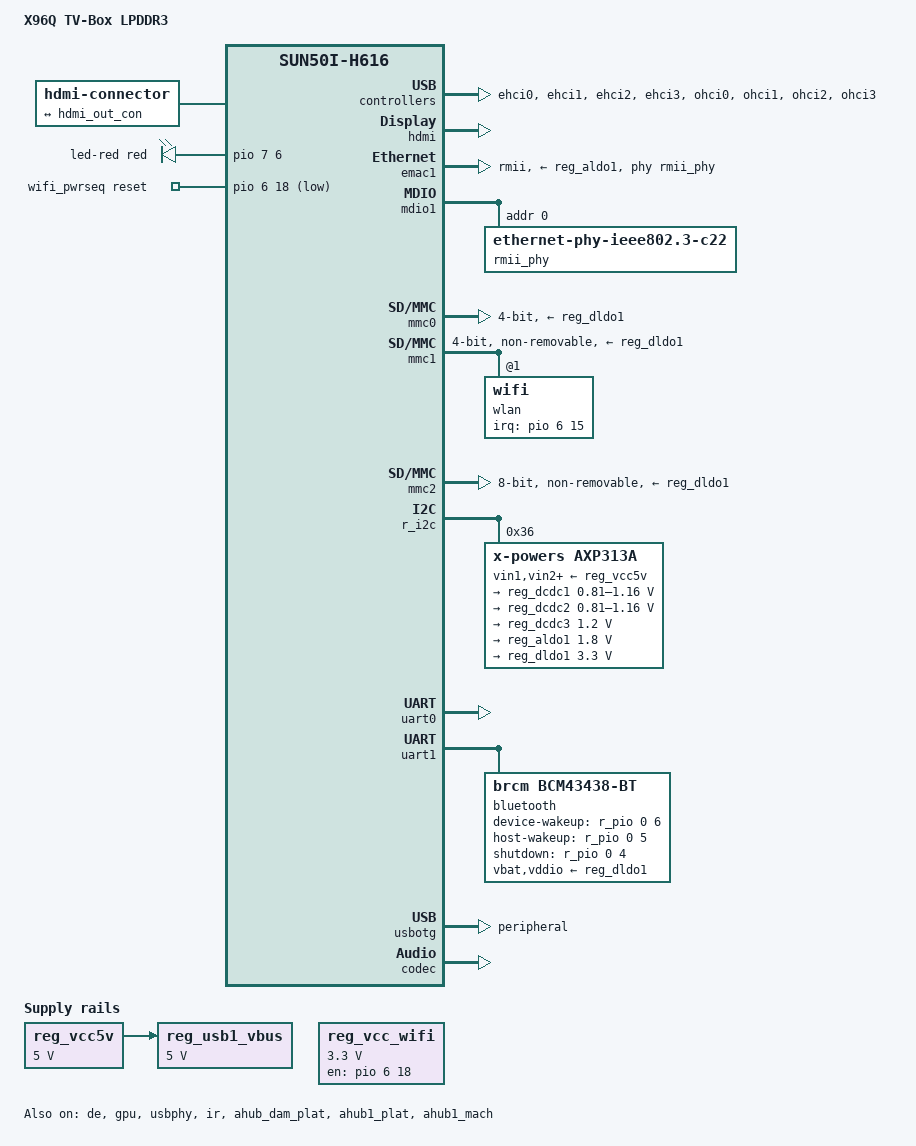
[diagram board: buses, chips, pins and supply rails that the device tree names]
// SPDX-License-Identifier: (GPL-2.0+ or MIT)
/*
 * Author: piotr.oniszczuk@gmail.com
 */

/dts-v1/;

#include "sun50i-h616.dtsi"
#include "sun50i-h313-cpu-opp.dtsi"
#include <dt-bindings/gpio/gpio.h>
#include <dt-bindings/interrupt-controller/arm-gic.h>
#include <dt-bindings/leds/common.h>

/ {
	model = "X96Q TV-Box LPDDR3";
	compatible = "hechuang,x96-q", "allwinner,sun50i-h616";

	aliases {
		mmc0 = &mmc0;
		mmc2 = &mmc2;
		ethernet0 = &emac1;
		ethernet1 = &wlan;
		serial0 = &uart0;
	};

	chosen {
		stdout-path = "serial0:115200n8";
	};

	connector {
		compatible = "hdmi-connector";
		type = "d";

		port {
			hdmi_con_in: endpoint {
				remote-endpoint = <&hdmi_out_con>;
			};
		};
	};

	leds {
		compatible = "gpio-leds";

		led-red {
			function = LED_FUNCTION_DISK_ACTIVITY;
			color = <LED_COLOR_ID_RED>;
			gpios = <&pio 7 6 GPIO_ACTIVE_HIGH>; /* PH6 */
			linux,default-trigger = "mmc0";
		};
	};

	reg_vcc5v: vcc5v {
		/* board wide 5V supply directly from the USB-C socket */
		compatible = "regulator-fixed";
		regulator-name = "vcc-5v";
		regulator-min-microvolt = <5000000>;
		regulator-max-microvolt = <5000000>;
		regulator-always-on;
	};

	reg_usb1_vbus: usb1-vbus {
		compatible = "regulator-fixed";
		regulator-name = "usb1-vbus";
		regulator-min-microvolt = <5000000>;
		regulator-max-microvolt = <5000000>;
		vin-supply = <&reg_vcc5v>;
		enable-active-high;
		/* gpio = <&pio 2 16 GPIO_ACTIVE_HIGH>; PC16 */
		status = "okay";
	};

	reg_vcc_wifi: reg_vcc_wifi {
		compatible = "regulator-fixed";
		regulator-name = "vcc-wifi";
		regulator-min-microvolt = <3300000>;
		regulator-max-microvolt = <3300000>;
		gpio = <&pio 6 18 GPIO_ACTIVE_HIGH>; /* PG18 WL_REG_ON */
		regulator-always-on;
		enable-active-high;
		status = "okay";
	};

	wifi_pwrseq: wifi-pwrseq {
		compatible = "mmc-pwrseq-simple";
		clocks = <&rtc 1>;
		clock-names = "osc32k-out";
		reset-gpios = <&pio 6 18 GPIO_ACTIVE_LOW>; /* PG18 */
		post-power-on-delay-ms = <200>;
	};
};

&cpu0 {
	cpu-supply = <&reg_dcdc2>;
	status = "okay";
};

&de {
	status = "okay";
};

&ehci0 {
	status = "okay";
};

&ehci1 {
	status = "okay";
};

&ehci2 {
	status = "okay";
};

&ehci3 {
	status = "okay";
};

&hdmi {
	hvcc-supply = <&reg_aldo1>;
	status = "okay";
};

&hdmi_out {
	hdmi_out_con: endpoint {
		remote-endpoint = <&hdmi_con_in>;
	};
};

&gpu {
	mali-supply = <&reg_dcdc1>;
	status = "okay";
};

&emac1 {
	pinctrl-names = "default";
	pinctrl-0 = <&rmii_pins>;
	phy-mode = "rmii";
	phy-handle = <&rmii_phy>;
	phy-supply = <&reg_aldo1>;
	allwinner,rx-delay-ps = <3100>;
	allwinner,tx-delay-ps = <700>;
	status = "okay";
};

&mdio1 {
	rmii_phy: ethernet-phy@0 {
		compatible = "ethernet-phy-ieee802.3-c22";
		reg = <0>;
	};
};

&mmc0 {
	vmmc-supply = <&reg_dldo1>;
	broken-cd;
	bus-width = <4>;
	status = "okay";
};

&mmc1 {
	vmmc-supply = <&reg_dldo1>;
	vqmmc-supply = <&reg_vcc_wifi>;
	mmc-pwrseq = <&wifi_pwrseq>;
	bus-width = <4>;
	non-removable;
	status = "okay";

	wlan: wifi@1 {
		reg = <1>;
		interrupt-parent = <&pio>;
		interrupts = <6 15 IRQ_TYPE_EDGE_RISING>; /* PG15 WL_HOSTWAKE*/
		interrupt-names = "host-wake";
		local-mac-address = [dc 44 6d c0 ff 02];
	};
};

&mmc2 {
	vmmc-supply = <&reg_dldo1>;
	bus-width = <8>;
	non-removable;
	cap-mmc-hw-reset;
	status = "okay";
};

&ohci0 {
	status = "okay";
};

&ohci1 {
	status = "okay";
};

&ohci2 {
	status = "okay";
};

&ohci3 {
	status = "okay";
};

&r_i2c {
	status = "okay";

	axp313a: pmic@36 {
		compatible = "x-powers,axp313a";
		reg = <0x36>;
		wakeup-source;
		vin1-supply = <&reg_vcc5v>;
		vin2-supply = <&reg_vcc5v>;
		vin3-supply = <&reg_vcc5v>;

		regulators {
			reg_dcdc1: dcdc1 {
				regulator-always-on;
				regulator-min-microvolt = <810000>;
				regulator-max-microvolt = <1160000>;
				regulator-name = "vdd-gpu";
			};

			reg_dcdc2: dcdc2 {
				regulator-always-on;
				regulator-min-microvolt = <810000>;
				regulator-max-microvolt = <1160000>;
				regulator-name = "vdd-cpu";
			};

			reg_dcdc3: dcdc3 {
				regulator-always-on;
				regulator-min-microvolt = <1200000>;
				regulator-max-microvolt = <1200000>;
				regulator-name = "vdd-dram";
			};

			reg_aldo1: aldo1 {
				regulator-always-on;
				regulator-min-microvolt = <1800000>;
				regulator-max-microvolt = <1800000>;
				regulator-name = "vcc1v8";
			};

			reg_dldo1: dldo1 {
				regulator-always-on;
				regulator-min-microvolt = <3300000>;
				regulator-max-microvolt = <3300000>;
				regulator-name = "vcc3v3";
			};
		};
	};
};

&uart0 {
	pinctrl-names = "default";
	pinctrl-0 = <&uart0_ph_pins>;
	status = "okay";
};

&uart1 {
	pinctrl-names = "default";
	pinctrl-0 = <&uart1_pins>, <&uart1_rts_cts_pins>;
	uart-has-rtscts;
	status = "okay";

	bluetooth {
		compatible = "brcm,bcm43438-bt";
		clocks = <&rtc 1>;
		clock-names = "lpo";
		vbat-supply = <&reg_dldo1>;
		vddio-supply = <&reg_dldo1>;
		device-wakeup-gpios = <&r_pio 0 6 GPIO_ACTIVE_HIGH>; /* PL6 */
		host-wakeup-gpios = <&r_pio 0 5 GPIO_ACTIVE_HIGH>; /* PL5 */
		shutdown-gpios = <&r_pio 0 4 GPIO_ACTIVE_HIGH>; /* PL4 */
	};
};

&usbotg {
	dr_mode = "peripheral";
	status = "okay";
};

&usbphy {
	usb1_vbus-supply = <&reg_usb1_vbus>;
	status = "okay";
};

&ir {
	linux,rc-map-name = "rc-beelink-gs1";
	status = "okay";
};

&codec {
	allwinner,audio-routing =
	        "Line Out", "LINEOUT";
	status = "okay";
};

&ahub_dam_plat {
	status = "okay";
};

&ahub1_plat {
	status = "okay";
};

&ahub1_mach {
	status = "okay";
};

